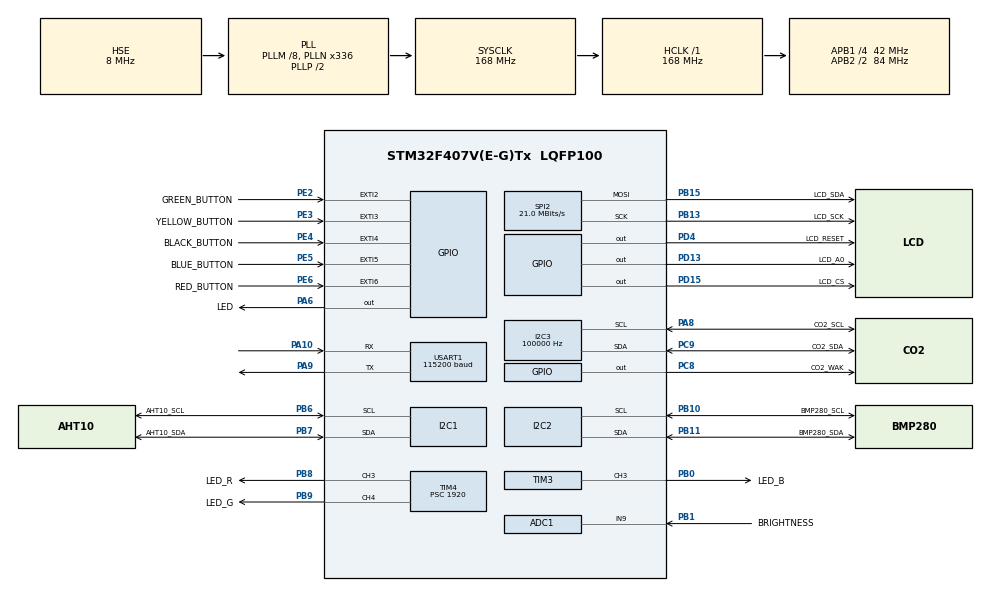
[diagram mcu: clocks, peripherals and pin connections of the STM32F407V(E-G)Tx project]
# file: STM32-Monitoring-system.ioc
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ADC1.Channel-0\#ChannelRegularConversion=ADC_CHANNEL_9
ADC1.ContinuousConvMode=ENABLE
ADC1.NbrOfConversionFlag=1
ADC1.Rank-0\#ChannelRegularConversion=1
ADC1.SamplingTime-0\#ChannelRegularConversion=ADC_SAMPLETIME_3CYCLES
ADC1.master=1
FREERTOS.BinarySemaphores01=CO2_Sem,Dynamic,NULL
FREERTOS.Mutexes01=ScreenMutex,Dynamic,NULL
FREERTOS.Tasks01=outTask,24,128,StartOutTask,Default,NULL,Dynamic,NULL,NULL;menuTask,24,128,StartMenuTask,Default,NULL,Dynamic,NULL,NULL;ledTask,8,128,StartLedTask,Default,NULL,Dynamic,NULL,NULL;barrierControlT,24,128,StartBarrierControlTask,Default,NULL,Dynamic,NULL,NULL;measureTask,24,128,StartMeasureTask,Default,NULL,Dynamic,NULL,NULL
FREERTOS.Timers01=sensorTimer,sensorTimerCallback,osTimerPeriodic,Default,NULL,Dynamic,NULL;outTimer,outTimerCallback,osTimerPeriodic,Default,NULL,Dynamic,NULL
FREERTOS.configLIBRARY_MAX_SYSCALL_INTERRUPT_PRIORITY=5
FREERTOS.configUSE_POSIX_ERRNO=0
FREERTOS.configUSE_TIMERS=1
I2C3.ClockSpeed=100000
Mcu.Family=STM32F4
Mcu.Name=STM32F407V(E-G)Tx
Mcu.Package=LQFP100
NVIC.EXTI2_IRQn=true\:5\:0\:false\:false\:true\:true\:true\:true\:true
NVIC.EXTI3_IRQn=true\:5\:0\:true\:false\:true\:true\:true\:true\:true
NVIC.EXTI4_IRQn=true\:5\:0\:true\:false\:true\:true\:true\:true\:true
NVIC.EXTI9_5_IRQn=true\:5\:0\:true\:false\:true\:true\:true\:true\:true
NVIC.I2C1_EV_IRQn=true\:5\:0\:false\:false\:true\:true\:true\:true\:true
NVIC.I2C2_EV_IRQn=true\:5\:0\:false\:false\:true\:true\:true\:true\:true
NVIC.I2C3_EV_IRQn=true\:5\:0\:false\:false\:true\:true\:true\:true\:true
NVIC.PriorityGroup=NVIC_PRIORITYGROUP_4
NVIC.SPI2_IRQn=true\:5\:0\:false\:false\:true\:true\:true\:true\:true
NVIC.TIM8_UP_TIM13_IRQn=true\:15\:0\:false\:false\:true\:false\:false\:true\:true
NVIC.TimeBase=TIM8_UP_TIM13_IRQn
NVIC.TimeBaseIP=TIM13
NVIC.USART1_IRQn=true\:5\:0\:false\:false\:true\:true\:true\:true\:true
PA10.Mode=Asynchronous
PA10.Signal=USART1_RX
PA13.Mode=Serial_Wire
PA13.Signal=SYS_JTMS-SWDIO
PA14.Mode=Serial_Wire
PA14.Signal=SYS_JTCK-SWCLK
PA6.GPIO_Label=LED
PA6.Signal=GPIO_Output
PA8.GPIO_Label=CO2_SCL
PA8.Mode=I2C
PA8.Signal=I2C3_SCL
PA9.Mode=Asynchronous
PA9.Signal=USART1_TX
PB0.GPIO_Label=LED_B
PB0.Signal=S_TIM3_CH3
PB1.GPIO_Label=BRIGHTNESS
PB1.Signal=ADCx_IN9
PB10.GPIO_Label=BMP280_SCL
PB10.Mode=I2C
PB10.Signal=I2C2_SCL
PB11.GPIO_Label=BMP280_SDA
PB11.Mode=I2C
PB11.Signal=I2C2_SDA
PB13.GPIO_Label=LCD_SCK
PB13.Mode=TX_Only_Simplex_Unidirect_Master
PB13.Signal=SPI2_SCK
PB15.GPIO_Label=LCD_SDA
PB15.Mode=TX_Only_Simplex_Unidirect_Master
PB15.Signal=SPI2_MOSI
PB6.GPIO_Label=AHT10_SCL
PB6.Mode=I2C
PB6.Signal=I2C1_SCL
PB7.GPIO_Label=AHT10_SDA
PB7.Mode=I2C
PB7.Signal=I2C1_SDA
PB8.GPIO_Label=LED_R
PB8.Signal=S_TIM4_CH3
PB9.GPIO_Label=LED_G
PB9.Signal=S_TIM4_CH4
PC8.GPIO_Label=CO2_WAK
PC8.Signal=GPIO_Output
PC9.GPIO_Label=CO2_SDA
PC9.Mode=I2C
PC9.Signal=I2C3_SDA
PD13.GPIO_Label=LCD_A0
PD13.Signal=GPIO_Output
PD15.GPIO_Label=LCD_CS
PD15.Signal=GPIO_Output
PD4.GPIO_Label=LCD_RESET
PD4.Signal=GPIO_Output
PE2.GPIO_Label=GREEN_BUTTON
PE2.GPIO_PuPd=GPIO_NOPULL
PE2.Signal=GPXTI2
PE3.GPIO_Label=YELLOW_BUTTON
PE3.GPIO_PuPd=GPIO_NOPULL
PE3.Signal=GPXTI3
PE4.GPIO_Label=BLACK_BUTTON
PE4.GPIO_PuPd=GPIO_NOPULL
PE4.Signal=GPXTI4
PE5.GPIO_Label=BLUE_BUTTON
PE5.GPIO_PuPd=GPIO_NOPULL
PE5.Signal=GPXTI5
PE6.GPIO_Label=RED_BUTTON
PE6.GPIO_PuPd=GPIO_NOPULL
PE6.Signal=GPXTI6
PH0-OSC_IN.Mode=HSE-External-Oscillator
PH0-OSC_IN.Signal=RCC_OSC_IN
PH1-OSC_OUT.Mode=HSE-External-Oscillator
PH1-OSC_OUT.Signal=RCC_OSC_OUT
ProjectManager.HeapSize=0x200
ProjectManager.StackSize=0x400
ProjectManager.TargetToolchain=Makefile
RCC.48MHZClocksFreq_Value=84000000
RCC.AHBFreq_Value=168000000
RCC.APB1CLKDivider=RCC_HCLK_DIV4
RCC.APB1Freq_Value=42000000
RCC.APB1TimFreq_Value=84000000
RCC.APB2CLKDivider=RCC_HCLK_DIV2
RCC.APB2Freq_Value=84000000
RCC.APB2TimFreq_Value=168000000
RCC.CortexFreq_Value=168000000
RCC.HCLKFreq_Value=168000000
RCC.HSE_VALUE=8000000
RCC.HSI_VALUE=16000000
RCC.LSE_VALUE=32768
RCC.PLLM=8
RCC.PLLN=336
RCC.PLLSourceVirtual=RCC_PLLSOURCE_HSE
RCC.SYSCLKFreq_VALUE=168000000
RCC.SYSCLKSource=RCC_SYSCLKSOURCE_PLLCLK
RCC.VCOOutputFreq_Value=336000000
RTC.Seconds=1
SH.ADCx_IN9.0=ADC1_IN9,IN9
SH.S_TIM3_CH3.0=TIM3_CH3,PWM Generation3 CH3
SH.S_TIM4_CH3.0=TIM4_CH3,PWM Generation3 CH3
SH.S_TIM4_CH4.0=TIM4_CH4,PWM Generation4 CH4
SPI2.CalculateBaudRate=21.0 MBits/s
SPI2.Direction=SPI_DIRECTION_2LINES
SPI2.Mode=SPI_MODE_MASTER
SPI2.VirtualType=VM_MASTER
TIM3.AutoReloadPreload=TIM_AUTORELOAD_PRELOAD_ENABLE
TIM3.Channel-PWM\ Generation3\ CH3=TIM_CHANNEL_3
TIM3.CounterMode=TIM_COUNTERMODE_UP
TIM3.Period=255
TIM3.Prescaler=1920
TIM4.AutoReloadPreload=TIM_AUTORELOAD_PRELOAD_ENABLE
TIM4.Channel-PWM\ Generation3\ CH3=TIM_CHANNEL_3
TIM4.Channel-PWM\ Generation4\ CH4=TIM_CHANNEL_4
TIM4.CounterMode=TIM_COUNTERMODE_UP
TIM4.Period=255
TIM4.Prescaler=1920
USART1.BaudRate=115200
USART1.VirtualMode=VM_ASYNC
VP_FREERTOS_VS_CMSIS_V2.Mode=CMSIS_V2
VP_RTC_VS_RTC_Activate.Mode=RTC_Enabled
VP_RTC_VS_RTC_Calendar.Mode=RTC_Calendar
VP_SYS_VS_tim13.Mode=TIM13
VP_TIM3_VS_ClockSourceINT.Mode=Internal
VP_TIM4_VS_ClockSourceINT.Mode=Internal
board=custom

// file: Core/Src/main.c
/* USER CODE BEGIN Header */
/**
 ******************************************************************************
 * @file           : main.c
 * @brief          : Main program body
 ******************************************************************************
 * @attention
 *
 * Copyright (c) 2024 STMicroelectronics.
 * All rights reserved.
 *
 * This software is licensed under terms that can be found in the LICENSE file
 * in the root directory of this software component.
 * If no LICENSE file comes with this software, it is provided AS-IS.
 *
 ******************************************************************************
 */
/* USER CODE END Header */
#include "main.h"
#include "cmsis_os.h"

/* USER CODE BEGIN Includes */
#include "common.h"
/* USER CODE END Includes */

ADC_HandleTypeDef hadc1;

I2C_HandleTypeDef hi2c1;
I2C_HandleTypeDef hi2c2;
I2C_HandleTypeDef hi2c3;

RTC_HandleTypeDef hrtc;

SPI_HandleTypeDef hspi2;

TIM_HandleTypeDef htim3;
TIM_HandleTypeDef htim4;

UART_HandleTypeDef huart1;

/* Definitions for outTask */
osThreadId_t outTaskHandle;
const osThreadAttr_t outTask_attributes = {
  .name = "outTask",
  .stack_size = 128 * 4,
  .priority = (osPriority_t) osPriorityNormal,
};
/* Definitions for menuTask */
osThreadId_t menuTaskHandle;
const osThreadAttr_t menuTask_attributes = {
  .name = "menuTask",
  .stack_size = 128 * 4,
  .priority = (osPriority_t) osPriorityNormal,
};
/* Definitions for ledTask */
osThreadId_t ledTaskHandle;
const osThreadAttr_t ledTask_attributes = {
  .name = "ledTask",
  .stack_size = 128 * 4,
  .priority = (osPriority_t) osPriorityLow,
};
/* Definitions for barrierControlT */
osThreadId_t barrierControlTHandle;
const osThreadAttr_t barrierControlT_attributes = {
  .name = "barrierControlT",
  .stack_size = 128 * 4,
  .priority = (osPriority_t) osPriorityNormal,
};
/* Definitions for measureTask */
osThreadId_t measureTaskHandle;
const osThreadAttr_t measureTask_attributes = {
  .name = "measureTask",
  .stack_size = 128 * 4,
  .priority = (osPriority_t) osPriorityNormal,
};
/* Definitions for sensorTimer */
osTimerId_t sensorTimerHandle;
const osTimerAttr_t sensorTimer_attributes = {
  .name = "sensorTimer"
};
/* Definitions for outTimer */
osTimerId_t outTimerHandle;
const osTimerAttr_t outTimer_attributes = {
  .name = "outTimer"
};
/* Definitions for ScreenMutex */
osMutexId_t ScreenMutexHandle;
const osMutexAttr_t ScreenMutex_attributes = {
  .name = "ScreenMutex"
};
/* Definitions for CO2_Sem */
osSemaphoreId_t CO2_SemHandle;
const osSemaphoreAttr_t CO2_Sem_attributes = {
  .name = "CO2_Sem"
};
/* USER CODE BEGIN PV */
extern bool menu, tmp, hum;
osStatus_t status;
/* USER CODE END PV */

void SystemClock_Config(void);
static void MX_GPIO_Init(void);
static void MX_USART1_UART_Init(void);
static void MX_SPI2_Init(void);
static void MX_I2C1_Init(void);
static void MX_I2C2_Init(void);
static void MX_I2C3_Init(void);
static void MX_ADC1_Init(void);
static void MX_TIM3_Init(void);
static void MX_TIM4_Init(void);
static void MX_RTC_Init(void);
void StartOutTask(void *argument);
void StartMenuTask(void *argument);
void StartLedTask(void *argument);
void StartBarrierControlTask(void *argument);
void StartMeasureTask(void *argument);
void sensorTimerCallback(void *argument);
void outTimerCallback(void *argument);

int main(void)
{

  /* USER CODE BEGIN 1 */
	SCB->CPACR |= ((3UL << 10 * 2) | (3UL << 11 * 2));
  /* USER CODE END 1 */

  /* MCU Configuration--------------------------------------------------------*/

  /* Reset of all peripherals, Initializes the Flash interface and the Systick. */
  HAL_Init();

  /* Configure the system clock */
  SystemClock_Config();

  /* Initialize all configured peripherals */
  MX_GPIO_Init();
  MX_USART1_UART_Init();
  MX_SPI2_Init();
  MX_I2C1_Init();
  MX_I2C2_Init();
  MX_I2C3_Init();
  MX_ADC1_Init();
  MX_TIM3_Init();
  MX_TIM4_Init();
  MX_RTC_Init();
  /* USER CODE BEGIN 2 */

	sensor_init();
	HAL_TIM_PWM_Start(&htim4, TIM_CHANNEL_3);
	HAL_TIM_PWM_Start(&htim4, TIM_CHANNEL_4);
	HAL_TIM_PWM_Start(&htim3, TIM_CHANNEL_3);
  /* USER CODE END 2 */

  /* Init scheduler */
  osKernelInitialize();
  /* Create the mutex(es) */
  /* creation of ScreenMutex */
  ScreenMutexHandle = osMutexNew(&ScreenMutex_attributes);

  /* Create the semaphores(s) */
  /* creation of CO2_Sem */
  CO2_SemHandle = osSemaphoreNew(1, 0, &CO2_Sem_attributes);

  /* Create the timer(s) */
  /* creation of sensorTimer */
  sensorTimerHandle = osTimerNew(sensorTimerCallback, osTimerPeriodic, NULL, &sensorTimer_attributes);

  /* creation of outTimer */
  outTimerHandle = osTimerNew(outTimerCallback, osTimerPeriodic, NULL, &outTimer_attributes);

  /* USER CODE BEGIN RTOS_TIMERS */
	/* start timers, add new ones, ... */
	osTimerStart(sensorTimerHandle, 1000);
	osTimerStart(outTimerHandle, 10000);
  /* USER CODE END RTOS_TIMERS */

  /* Create the thread(s) */
  /* creation of outTask */
  outTaskHandle = osThreadNew(StartOutTask, NULL, &outTask_attributes);

  /* creation of menuTask */
  menuTaskHandle = osThreadNew(StartMenuTask, NULL, &menuTask_attributes);

  /* creation of ledTask */
  ledTaskHandle = osThreadNew(StartLedTask, NULL, &ledTask_attributes);

  /* creation of barrierControlT */
  barrierControlTHandle = osThreadNew(StartBarrierControlTask, NULL, &barrierControlT_attributes);

  /* creation of measureTask */
  measureTaskHandle = osThreadNew(StartMeasureTask, NULL, &measureTask_attributes);

  /* Start scheduler */
  osKernelStart();

  /* We should never get here as control is now taken by the scheduler */

  /* Infinite loop */
	while (1) {

	}
}

void SystemClock_Config(void)
{
  RCC_OscInitTypeDef RCC_OscInitStruct = {0};
  RCC_ClkInitTypeDef RCC_ClkInitStruct = {0};

  /** Configure the main internal regulator output voltage
  */
  __HAL_RCC_PWR_CLK_ENABLE();
  __HAL_PWR_VOLTAGESCALING_CONFIG(PWR_REGULATOR_VOLTAGE_SCALE1);

  /** Initializes the RCC Oscillators according to the specified parameters
  * in the RCC_OscInitTypeDef structure.
  */
  RCC_OscInitStruct.OscillatorType = RCC_OSCILLATORTYPE_LSI|RCC_OSCILLATORTYPE_HSE;
  RCC_OscInitStruct.HSEState = RCC_HSE_ON;
  RCC_OscInitStruct.LSIState = RCC_LSI_ON;
  RCC_OscInitStruct.PLL.PLLState = RCC_PLL_ON;
  RCC_OscInitStruct.PLL.PLLSource = RCC_PLLSOURCE_HSE;
  RCC_OscInitStruct.PLL.PLLM = 8;
  RCC_OscInitStruct.PLL.PLLN = 336;
  RCC_OscInitStruct.PLL.PLLP = RCC_PLLP_DIV2;
  RCC_OscInitStruct.PLL.PLLQ = 4;
  if (HAL_RCC_OscConfig(&RCC_OscInitStruct) != HAL_OK)
  {
    Error_Handler();
  }

  /** Initializes the CPU, AHB and APB buses clocks
  */
  RCC_ClkInitStruct.ClockType = RCC_CLOCKTYPE_HCLK|RCC_CLOCKTYPE_SYSCLK
                              |RCC_CLOCKTYPE_PCLK1|RCC_CLOCKTYPE_PCLK2;
  RCC_ClkInitStruct.SYSCLKSource = RCC_SYSCLKSOURCE_PLLCLK;
  RCC_ClkInitStruct.AHBCLKDivider = RCC_SYSCLK_DIV1;
  RCC_ClkInitStruct.APB1CLKDivider = RCC_HCLK_DIV4;
  RCC_ClkInitStruct.APB2CLKDivider = RCC_HCLK_DIV2;

  if (HAL_RCC_ClockConfig(&RCC_ClkInitStruct, FLASH_LATENCY_5) != HAL_OK)
  {
    Error_Handler();
  }
}

static void MX_ADC1_Init(void)
{

  ADC_ChannelConfTypeDef sConfig = {0};

  /** Configure the global features of the ADC (Clock, Resolution, Data Alignment and number of conversion)
  */
  hadc1.Instance = ADC1;
  hadc1.Init.ClockPrescaler = ADC_CLOCK_SYNC_PCLK_DIV4;
  hadc1.Init.Resolution = ADC_RESOLUTION_12B;
  hadc1.Init.ScanConvMode = DISABLE;
  hadc1.Init.ContinuousConvMode = ENABLE;
  hadc1.Init.DiscontinuousConvMode = DISABLE;
  hadc1.Init.ExternalTrigConvEdge = ADC_EXTERNALTRIGCONVEDGE_NONE;
  hadc1.Init.ExternalTrigConv = ADC_SOFTWARE_START;
  hadc1.Init.DataAlign = ADC_DATAALIGN_RIGHT;
  hadc1.Init.NbrOfConversion = 1;
  hadc1.Init.DMAContinuousRequests = DISABLE;
  hadc1.Init.EOCSelection = ADC_EOC_SINGLE_CONV;
  if (HAL_ADC_Init(&hadc1) != HAL_OK)
  {
    Error_Handler();
  }

  /** Configure for the selected ADC regular channel its corresponding rank in the sequencer and its sample time.
  */
  sConfig.Channel = ADC_CHANNEL_9;
  sConfig.Rank = 1;
  sConfig.SamplingTime = ADC_SAMPLETIME_3CYCLES;
  if (HAL_ADC_ConfigChannel(&hadc1, &sConfig) != HAL_OK)
  {
    Error_Handler();
  }

}

static void MX_I2C1_Init(void)
{

  hi2c1.Instance = I2C1;
  hi2c1.Init.ClockSpeed = 100000;
  hi2c1.Init.DutyCycle = I2C_DUTYCYCLE_2;
  hi2c1.Init.OwnAddress1 = 0;
  hi2c1.Init.AddressingMode = I2C_ADDRESSINGMODE_7BIT;
  hi2c1.Init.DualAddressMode = I2C_DUALADDRESS_DISABLE;
  hi2c1.Init.OwnAddress2 = 0;
  hi2c1.Init.GeneralCallMode = I2C_GENERALCALL_DISABLE;
  hi2c1.Init.NoStretchMode = I2C_NOSTRETCH_DISABLE;
  if (HAL_I2C_Init(&hi2c1) != HAL_OK)
  {
    Error_Handler();
  }

}

static void MX_I2C2_Init(void)
{

  hi2c2.Instance = I2C2;
  hi2c2.Init.ClockSpeed = 100000;
  hi2c2.Init.DutyCycle = I2C_DUTYCYCLE_2;
  hi2c2.Init.OwnAddress1 = 0;
  hi2c2.Init.AddressingMode = I2C_ADDRESSINGMODE_7BIT;
  hi2c2.Init.DualAddressMode = I2C_DUALADDRESS_DISABLE;
  hi2c2.Init.OwnAddress2 = 0;
  hi2c2.Init.GeneralCallMode = I2C_GENERALCALL_DISABLE;
  hi2c2.Init.NoStretchMode = I2C_NOSTRETCH_DISABLE;
  if (HAL_I2C_Init(&hi2c2) != HAL_OK)
  {
    Error_Handler();
  }

}

static void MX_I2C3_Init(void)
{

  hi2c3.Instance = I2C3;
  hi2c3.Init.ClockSpeed = 100000;
  hi2c3.Init.DutyCycle = I2C_DUTYCYCLE_2;
  hi2c3.Init.OwnAddress1 = 0;
  hi2c3.Init.AddressingMode = I2C_ADDRESSINGMODE_7BIT;
  hi2c3.Init.DualAddressMode = I2C_DUALADDRESS_DISABLE;
  hi2c3.Init.OwnAddress2 = 0;
  hi2c3.Init.GeneralCallMode = I2C_GENERALCALL_DISABLE;
  hi2c3.Init.NoStretchMode = I2C_NOSTRETCH_DISABLE;
  if (HAL_I2C_Init(&hi2c3) != HAL_OK)
  {
    Error_Handler();
  }

}

static void MX_RTC_Init(void)
{

  RTC_TimeTypeDef sTime = {0};
  RTC_DateTypeDef sDate = {0};

  /** Initialize RTC Only
  */
  hrtc.Instance = RTC;
  hrtc.Init.HourFormat = RTC_HOURFORMAT_24;
  hrtc.Init.AsynchPrediv = 127;
  hrtc.Init.SynchPrediv = 255;
  hrtc.Init.OutPut = RTC_OUTPUT_DISABLE;
  hrtc.Init.OutPutPolarity = RTC_OUTPUT_POLARITY_HIGH;
  hrtc.Init.OutPutType = RTC_OUTPUT_TYPE_OPENDRAIN;
  if (HAL_RTC_Init(&hrtc) != HAL_OK)
  {
    Error_Handler();
  }

  /** Initialize RTC and set the Time and Date
  */
  sTime.Hours = 0x0;
  sTime.Minutes = 0x0;
  sTime.Seconds = 0x1;
  sTime.DayLightSaving = RTC_DAYLIGHTSAVING_NONE;
  sTime.StoreOperation = RTC_STOREOPERATION_RESET;
  if (HAL_RTC_SetTime(&hrtc, &sTime, RTC_FORMAT_BCD) != HAL_OK)
  {
    Error_Handler();
  }
  sDate.WeekDay = RTC_WEEKDAY_MONDAY;
  sDate.Month = RTC_MONTH_JANUARY;
  sDate.Date = 0x1;
  sDate.Year = 0x0;

  if (HAL_RTC_SetDate(&hrtc, &sDate, RTC_FORMAT_BCD) != HAL_OK)
  {
    Error_Handler();
  }

}

static void MX_SPI2_Init(void)
{

  /* SPI2 parameter configuration*/
  hspi2.Instance = SPI2;
  hspi2.Init.Mode = SPI_MODE_MASTER;
  hspi2.Init.Direction = SPI_DIRECTION_2LINES;
  hspi2.Init.DataSize = SPI_DATASIZE_8BIT;
  hspi2.Init.CLKPolarity = SPI_POLARITY_LOW;
  hspi2.Init.CLKPhase = SPI_PHASE_1EDGE;
  hspi2.Init.NSS = SPI_NSS_SOFT;
  hspi2.Init.BaudRatePrescaler = SPI_BAUDRATEPRESCALER_2;
  hspi2.Init.FirstBit = SPI_FIRSTBIT_MSB;
  hspi2.Init.TIMode = SPI_TIMODE_DISABLE;
  hspi2.Init.CRCCalculation = SPI_CRCCALCULATION_DISABLE;
  hspi2.Init.CRCPolynomial = 10;
  if (HAL_SPI_Init(&hspi2) != HAL_OK)
  {
    Error_Handler();
  }

}

static void MX_TIM3_Init(void)
{

  TIM_ClockConfigTypeDef sClockSourceConfig = {0};
  TIM_MasterConfigTypeDef sMasterConfig = {0};
  TIM_OC_InitTypeDef sConfigOC = {0};

  htim3.Instance = TIM3;
  htim3.Init.Prescaler = 1920;
  htim3.Init.CounterMode = TIM_COUNTERMODE_UP;
  htim3.Init.Period = 255;
  htim3.Init.ClockDivision = TIM_CLOCKDIVISION_DIV1;
  htim3.Init.AutoReloadPreload = TIM_AUTORELOAD_PRELOAD_ENABLE;
  if (HAL_TIM_Base_Init(&htim3) != HAL_OK)
  {
    Error_Handler();
  }
  sClockSourceConfig.ClockSource = TIM_CLOCKSOURCE_INTERNAL;
  if (HAL_TIM_ConfigClockSource(&htim3, &sClockSourceConfig) != HAL_OK)
  {
    Error_Handler();
  }
  if (HAL_TIM_PWM_Init(&htim3) != HAL_OK)
  {
    Error_Handler();
  }
  sMasterConfig.MasterOutputTrigger = TIM_TRGO_RESET;
  sMasterConfig.MasterSlaveMode = TIM_MASTERSLAVEMODE_DISABLE;
  if (HAL_TIMEx_MasterConfigSynchronization(&htim3, &sMasterConfig) != HAL_OK)
  {
    Error_Handler();
  }
  sConfigOC.OCMode = TIM_OCMODE_PWM1;
  sConfigOC.Pulse = 0;
  sConfigOC.OCPolarity = TIM_OCPOLARITY_HIGH;
  sConfigOC.OCFastMode = TIM_OCFAST_DISABLE;
  if (HAL_TIM_PWM_ConfigChannel(&htim3, &sConfigOC, TIM_CHANNEL_3) != HAL_OK)
  {
    Error_Handler();
  }
  HAL_TIM_MspPostInit(&htim3);

}

static void MX_TIM4_Init(void)
{

  TIM_ClockConfigTypeDef sClockSourceConfig = {0};
  TIM_MasterConfigTypeDef sMasterConfig = {0};
  TIM_OC_InitTypeDef sConfigOC = {0};

  htim4.Instance = TIM4;
  htim4.Init.Prescaler = 1920;
  htim4.Init.CounterMode = TIM_COUNTERMODE_UP;
  htim4.Init.Period = 255;
  htim4.Init.ClockDivision = TIM_CLOCKDIVISION_DIV1;
  htim4.Init.AutoReloadPreload = TIM_AUTORELOAD_PRELOAD_ENABLE;
  if (HAL_TIM_Base_Init(&htim4) != HAL_OK)
  {
    Error_Handler();
  }
  sClockSourceConfig.ClockSource = TIM_CLOCKSOURCE_INTERNAL;
  if (HAL_TIM_ConfigClockSource(&htim4, &sClockSourceConfig) != HAL_OK)
  {
    Error_Handler();
  }
  if (HAL_TIM_PWM_Init(&htim4) != HAL_OK)
  {
    Error_Handler();
  }
  sMasterConfig.MasterOutputTrigger = TIM_TRGO_RESET;
  sMasterConfig.MasterSlaveMode = TIM_MASTERSLAVEMODE_DISABLE;
  if (HAL_TIMEx_MasterConfigSynchronization(&htim4, &sMasterConfig) != HAL_OK)
  {
    Error_Handler();
  }
  sConfigOC.OCMode = TIM_OCMODE_PWM1;
  sConfigOC.Pulse = 0;
  sConfigOC.OCPolarity = TIM_OCPOLARITY_HIGH;
  sConfigOC.OCFastMode = TIM_OCFAST_DISABLE;
  if (HAL_TIM_PWM_ConfigChannel(&htim4, &sConfigOC, TIM_CHANNEL_3) != HAL_OK)
  {
    Error_Handler();
  }
  if (HAL_TIM_PWM_ConfigChannel(&htim4, &sConfigOC, TIM_CHANNEL_4) != HAL_OK)
  {
    Error_Handler();
  }
  HAL_TIM_MspPostInit(&htim4);

}

static void MX_USART1_UART_Init(void)
{

  huart1.Instance = USART1;
  huart1.Init.BaudRate = 115200;
  huart1.Init.WordLength = UART_WORDLENGTH_8B;
  huart1.Init.StopBits = UART_STOPBITS_1;
  huart1.Init.Parity = UART_PARITY_NONE;
  huart1.Init.Mode = UART_MODE_TX_RX;
  huart1.Init.HwFlowCtl = UART_HWCONTROL_NONE;
  huart1.Init.OverSampling = UART_OVERSAMPLING_16;
  if (HAL_UART_Init(&huart1) != HAL_OK)
  {
    Error_Handler();
  }

}

static void MX_GPIO_Init(void)
{
  GPIO_InitTypeDef GPIO_InitStruct = {0};

  /* GPIO Ports Clock Enable */
  __HAL_RCC_GPIOE_CLK_ENABLE();
  __HAL_RCC_GPIOH_CLK_ENABLE();
  __HAL_RCC_GPIOA_CLK_ENABLE();
  __HAL_RCC_GPIOB_CLK_ENABLE();
  __HAL_RCC_GPIOD_CLK_ENABLE();
  __HAL_RCC_GPIOC_CLK_ENABLE();

  /*Configure GPIO pin Output Level */
  HAL_GPIO_WritePin(LED_GPIO_Port, LED_Pin, GPIO_PIN_RESET);

  /*Configure GPIO pin Output Level */
  HAL_GPIO_WritePin(GPIOD, LCD_A0_Pin|LCD_CS_Pin|LCD_RESET_Pin, GPIO_PIN_RESET);

  /*Configure GPIO pin Output Level */
  HAL_GPIO_WritePin(CO2_WAK_GPIO_Port, CO2_WAK_Pin, GPIO_PIN_RESET);

  /*Configure GPIO pins : GREEN_BUTTON_Pin YELLOW_BUTTON_Pin BLACK_BUTTON_Pin BLUE_BUTTON_Pin
                           RED_BUTTON_Pin */
  GPIO_InitStruct.Pin = GREEN_BUTTON_Pin|YELLOW_BUTTON_Pin|BLACK_BUTTON_Pin|BLUE_BUTTON_Pin
                          |RED_BUTTON_Pin;
  GPIO_InitStruct.Mode = GPIO_MODE_IT_RISING;
  GPIO_InitStruct.Pull = GPIO_NOPULL;
  HAL_GPIO_Init(GPIOE, &GPIO_InitStruct);

  /*Configure GPIO pin : LED_Pin */
  GPIO_InitStruct.Pin = LED_Pin;
  GPIO_InitStruct.Mode = GPIO_MODE_OUTPUT_PP;
  GPIO_InitStruct.Pull = GPIO_NOPULL;
  GPIO_InitStruct.Speed = GPIO_SPEED_FREQ_LOW;
  HAL_GPIO_Init(LED_GPIO_Port, &GPIO_InitStruct);

  /*Configure GPIO pins : LCD_A0_Pin LCD_CS_Pin LCD_RESET_Pin */
  GPIO_InitStruct.Pin = LCD_A0_Pin|LCD_CS_Pin|LCD_RESET_Pin;
  GPIO_InitStruct.Mode = GPIO_MODE_OUTPUT_PP;
  GPIO_InitStruct.Pull = GPIO_NOPULL;
  GPIO_InitStruct.Speed = GPIO_SPEED_FREQ_LOW;
  HAL_GPIO_Init(GPIOD, &GPIO_InitStruct);

  /*Configure GPIO pin : CO2_WAK_Pin */
  GPIO_InitStruct.Pin = CO2_WAK_Pin;
  GPIO_InitStruct.Mode = GPIO_MODE_OUTPUT_PP;
  GPIO_InitStruct.Pull = GPIO_NOPULL;
  GPIO_InitStruct.Speed = GPIO_SPEED_FREQ_LOW;
  HAL_GPIO_Init(CO2_WAK_GPIO_Port, &GPIO_InitStruct);

  /* EXTI interrupt init*/
  HAL_NVIC_SetPriority(EXTI2_IRQn, 5, 0);
  HAL_NVIC_EnableIRQ(EXTI2_IRQn);

  HAL_NVIC_SetPriority(EXTI3_IRQn, 5, 0);
  HAL_NVIC_EnableIRQ(EXTI3_IRQn);

  HAL_NVIC_SetPriority(EXTI4_IRQn, 5, 0);
  HAL_NVIC_EnableIRQ(EXTI4_IRQn);

  HAL_NVIC_SetPriority(EXTI9_5_IRQn, 5, 0);
  HAL_NVIC_EnableIRQ(EXTI9_5_IRQn);

}

/* USER CODE BEGIN 4 */

void HAL_GPIO_EXTI_Callback(uint16_t GPIO_Pin) {
	// if (GPIO_Pin < sizeof(buttonHandlers) / sizeof(ButtonHandler) && buttonHandlers[GPIO_Pin]) {
	buttonHandlers[GPIO_Pin]();
	// }
}

/* USER CODE END 4 */

void StartOutTask(void *argument)
{
  /* USER CODE BEGIN 5 */
	/* Infinite loop */

	for (;;) {
		osThreadFlagsWait(0x01, osFlagsWaitAny, osWaitForever);
		if (!menu) {
      osThreadFlagsSet(ledTaskHandle, 0x01);
			sensor_out();
		}
	}
  /* USER CODE END 5 */
}

void StartMenuTask(void *argument)
{
  /* USER CODE BEGIN StartMenuTask */
	/* Infinite loop */
	for (;;) {
		if (menu && !hum && !tmp) {
			menu_func();
		}
		osDelay(100);
	}
  /* USER CODE END StartMenuTask */
}

void StartLedTask(void *argument)
{
  /* USER CODE BEGIN StartLedTask */
	/* Infinite loop */
	for (;;) {
		osThreadFlagsWait(0x01, osFlagsWaitAny, osWaitForever);
		led_func();
	}
  /* USER CODE END StartLedTask */
}

void StartBarrierControlTask(void *argument)
{
  /* USER CODE BEGIN StartBarrierControlTask */
	/* Infinite loop */
	for (;;) {
		barrier_ctrl_func();
		osDelay(100);
	}
  /* USER CODE END StartBarrierControlTask */
}

void StartMeasureTask(void *argument)
{
  /* USER CODE BEGIN StartMeasureTask */
	/* Infinite loop */
	for (;;) {
		osThreadFlagsWait(0x01, osFlagsWaitAny, osWaitForever);
		sensor_working();
	}
  /* USER CODE END StartMeasureTask */
}

/* sensorTimerCallback function */
void sensorTimerCallback(void *argument)
{
  /* USER CODE BEGIN sensorTimerCallback */
	osThreadFlagsSet(measureTaskHandle, 0x01);
  /* USER CODE END sensorTimerCallback */
}

/* outTimerCallback function */
void outTimerCallback(void *argument)
{
  /* USER CODE BEGIN outTimerCallback */
	osThreadFlagsSet(outTaskHandle, 0x01);
  /* USER CODE END outTimerCallback */
}

void HAL_TIM_PeriodElapsedCallback(TIM_HandleTypeDef *htim)
{
  if (htim->Instance == TIM13) {
    HAL_IncTick();
  }
}

void Error_Handler(void)
{
	__disable_irq();
	while (1) {
	}
}
